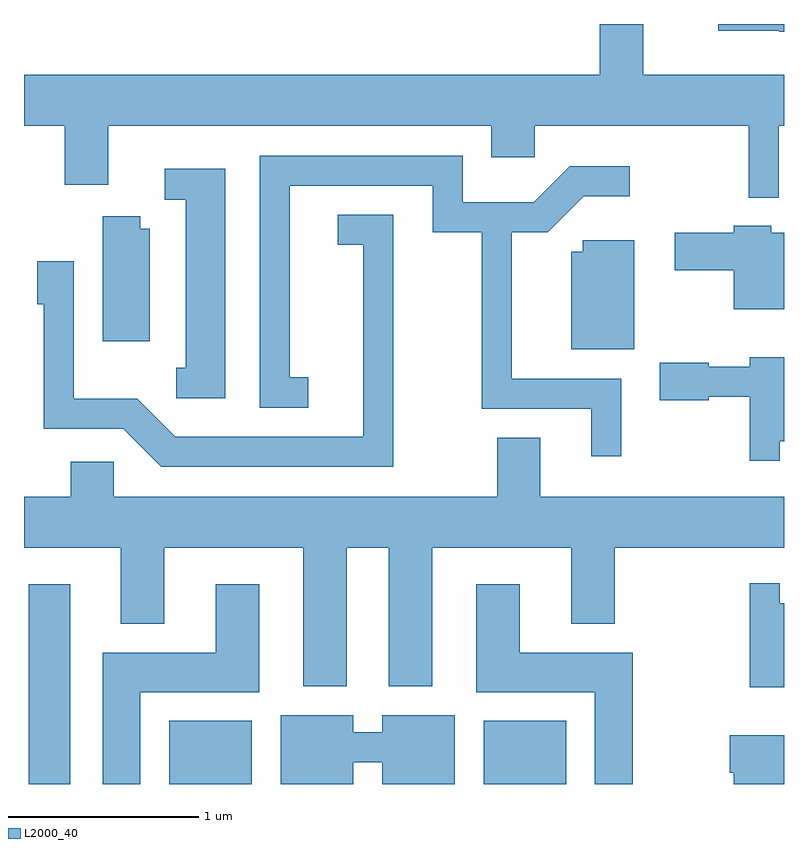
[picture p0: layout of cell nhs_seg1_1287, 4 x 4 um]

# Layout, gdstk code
import gdstk
lib = gdstk.Library(unit=1e-6, precision=1e-09)
def R(c, l, rs):  # rectangles x0, y0, x1, y1
    for r in rs: c.add(gdstk.rectangle(r[:2], r[2:], *l))
def P(c, l, *ps):  # polygons
    for p in ps: c.add(gdstk.Polygon(p, *l))
L2000_40 = (2000, 40)

nhs_seg1_1287 = lib.new_cell('nhs_seg1_1287')
R(nhs_seg1_1287, L2000_40, [(225.636,851.712,225.854,852.764), (226.376,851.712,226.809,852.044), (228.031,851.712,228.464,852.044)])
P(nhs_seg1_1287, L2000_40, [(229.611,855.712),(229.266,855.712),(229.266,855.676),(229.585,855.676),(229.585,855.671),(229.611,855.671)],
  [(229.584,855.176),(229.611,855.176),(229.611,855.444),(228.869,855.444),(228.869,855.712),(228.641,855.712),(228.641,855.444),(225.611,855.444),(225.611,855.176),(225.826,855.176),(225.826,854.866),(226.054,854.866),(226.054,855.176),(228.071,855.176),(228.071,855.011),(228.299,855.011),(228.299,855.176),(229.426,855.176),(229.426,854.798),(229.584,854.798)],
  [(228.754,853.844),(228.179,853.844),(228.179,854.616),(228.367,854.616),(228.557,854.806),(228.798,854.806),(228.798,854.964),(228.484,854.964),(228.294,854.774),(227.919,854.774),(227.919,855.019),(226.851,855.019),(226.851,853.691),(227.108,853.691),(227.108,853.854),(227.009,853.854),(227.009,854.861),(227.761,854.861),(227.761,854.616),(228.021,854.616),(228.021,853.686),(228.596,853.686),(228.596,853.438),(228.754,853.438)],
  [(226.669,854.949),(226.353,854.949),(226.353,854.786),(226.461,854.786),(226.461,853.904),(226.413,853.904),(226.413,853.741),(226.669,853.741)],
  [(227.554,854.709),(227.263,854.709),(227.263,854.551),(227.396,854.551),(227.396,853.539),(226.407,853.539),(226.207,853.739),(225.874,853.739),(225.874,854.464),(225.681,854.464),(225.681,854.236),(225.716,854.236),(225.716,853.581),(226.134,853.581),(226.334,853.381),(227.554,853.381)],
  [(226.274,854.634),(226.224,854.634),(226.224,854.699),(226.026,854.699),(226.026,854.041),(226.274,854.041)],
  [(229.611,854.614),(229.544,854.614),(229.544,854.649),(229.346,854.649),(229.346,854.614),(229.036,854.614),(229.036,854.416),(229.346,854.416),(229.346,854.211),(229.611,854.211)],
  [(228.824,854.574),(228.551,854.574),(228.551,854.514),(228.491,854.514),(228.491,854.001),(228.824,854.001)],
  [(229.589,853.516),(229.611,853.516),(229.611,853.959),(229.431,853.959),(229.431,853.909),(229.214,853.909),(229.214,853.929),(228.956,853.929),(228.956,853.731),(229.214,853.731),(229.214,853.751),(229.431,853.751),(229.431,853.413),(229.589,853.413)],
  [(227.309,852.956),(227.531,852.956),(227.531,852.226),(227.759,852.226),(227.759,852.956),(228.491,852.956),(228.491,852.556),(228.719,852.556),(228.719,852.956),(229.611,852.956),(229.611,853.224),(228.329,853.224),(228.329,853.534),(228.101,853.534),(228.101,853.224),(226.084,853.224),(226.084,853.409),(225.856,853.409),(225.856,853.224),(225.611,853.224),(225.611,852.956),(226.121,852.956),(226.121,852.556),(226.349,852.556),(226.349,852.956),(227.081,852.956),(227.081,852.226),(227.309,852.226)],
  [(229.611,852.664),(229.589,852.664),(229.589,852.768),(229.431,852.768),(229.431,852.221),(229.611,852.221)],
  [(226.224,852.196),(226.849,852.196),(226.849,852.764),(226.621,852.764),(226.621,852.404),(226.026,852.404),(226.026,851.712),(226.224,851.712)],
  [(228.814,852.404),(228.219,852.404),(228.219,852.764),(227.991,852.764),(227.991,852.196),(228.616,852.196),(228.616,851.712),(228.814,851.712)],
  [(227.344,851.826),(227.496,851.826),(227.496,851.712),(227.879,851.712),(227.879,852.074),(227.496,852.074),(227.496,851.984),(227.344,851.984),(227.344,852.074),(226.961,852.074),(226.961,851.712),(227.344,851.712)],
  [(229.611,851.969),(229.326,851.969),(229.326,851.771),(229.346,851.771),(229.346,851.712),(229.611,851.712)])

lib.write_gds('nhs_seg1_1287.gds')
